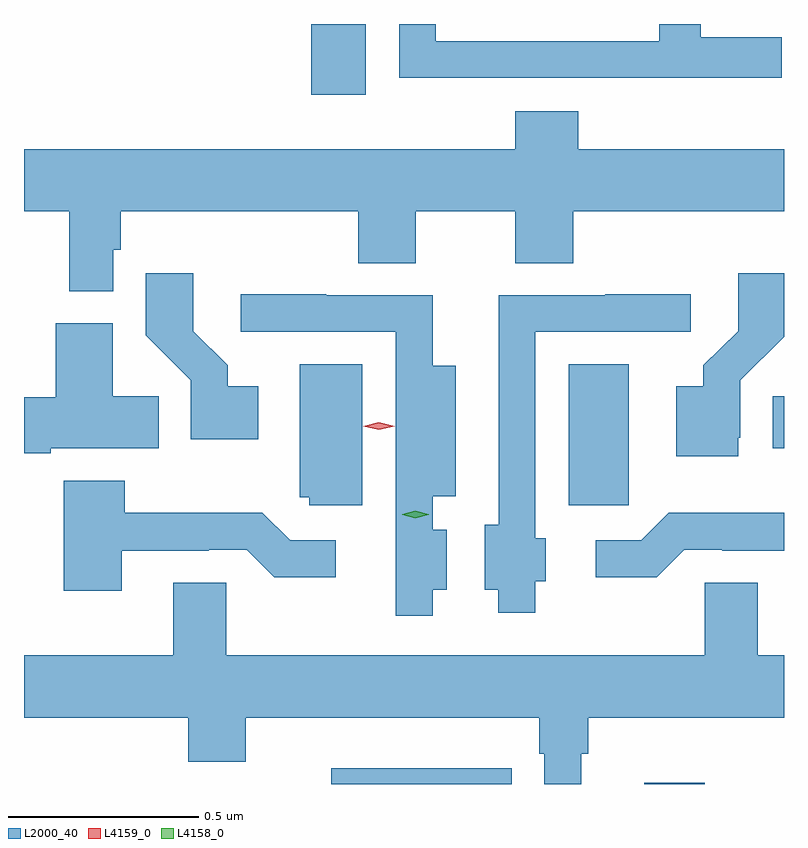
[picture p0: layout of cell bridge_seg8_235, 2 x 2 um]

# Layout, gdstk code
import gdstk
lib = gdstk.Library(unit=1e-6, precision=1e-09)
def R(c, l, rs):  # rectangles x0, y0, x1, y1
    for r in rs: c.add(gdstk.rectangle(r[:2], r[2:], *l))
def P(c, l, *ps):  # polygons
    for p in ps: c.add(gdstk.Polygon(p, *l))
L2000_40 = (2000, 40)
L4158_0 = (4158, 0)
L4159_0 = (4159, 0)

bridge_seg8_235 = lib.new_cell('bridge_seg8_235')
R(bridge_seg8_235, L2000_40, [(311.858,1145.629,312.017,1145.632), (311.66,1146.363,311.818,1146.733), (312.196,1146.512,312.226,1146.65), (310.982,1147.443,311.125,1147.629)])
P(bridge_seg8_235, L2000_40, [(311.435,1147.488),(311.801,1147.488),(311.801,1147.487),(312.22,1147.487),(312.22,1147.594),(312.007,1147.594),(312.007,1147.629),(311.898,1147.629),(311.898,1147.584),(311.31,1147.584),(311.31,1147.629),(311.214,1147.629),(311.214,1147.487),(311.435,1147.487)],
  [(310.461,1147.035),(310.481,1147.035),(310.481,1147.136),(311.105,1147.136),(311.105,1147),(311.257,1147),(311.257,1147.136),(311.519,1147.136),(311.519,1147),(311.672,1147),(311.672,1147.136),(312.226,1147.136),(312.226,1147.3),(311.684,1147.3),(311.684,1147.399),(311.519,1147.399),(311.519,1147.3),(310.226,1147.3),(310.226,1147.136),(310.345,1147.136),(310.345,1146.926),(310.461,1146.926)],
  [(312.106,1146.54),(312.111,1146.54),(312.111,1146.691),(312.226,1146.806),(312.226,1146.973),(312.105,1146.973),(312.105,1146.821),(312.014,1146.731),(312.014,1146.676),(311.942,1146.676),(311.942,1146.491),(312.106,1146.491)],
  [(310.843,1146.676),(310.762,1146.676),(310.762,1146.731),(310.672,1146.821),(310.672,1146.973),(310.546,1146.973),(310.546,1146.81),(310.665,1146.691),(310.665,1146.536),(310.843,1146.536)],
  [(311.572,1146.162),(311.599,1146.162),(311.599,1146.276),(311.571,1146.276),(311.571,1146.819),(311.98,1146.819),(311.98,1146.918),(311.755,1146.918),(311.755,1146.915),(311.475,1146.915),(311.475,1146.311),(311.438,1146.311),(311.438,1146.14),(311.474,1146.14),(311.474,1146.08),(311.572,1146.08)],
  [(311.302,1146.14),(311.338,1146.14),(311.338,1146.298),(311.302,1146.298),(311.302,1146.386),(311.362,1146.386),(311.362,1146.73),(311.302,1146.73),(311.302,1146.915),(311.021,1146.915),(311.021,1146.918),(310.797,1146.918),(310.797,1146.819),(311.204,1146.819),(311.204,1146.072),(311.302,1146.072)],
  [(310.297,1146.512),(310.58,1146.512),(310.58,1146.65),(310.459,1146.65),(310.459,1146.841),(310.31,1146.841),(310.31,1146.647),(310.226,1146.647),(310.226,1146.5),(310.297,1146.5)],
  [(311.116,1146.733),(310.952,1146.733),(310.952,1146.384),(310.977,1146.384),(310.977,1146.363),(311.116,1146.363)],
  [(310.483,1146.243),(310.712,1146.243),(310.712,1146.246),(310.812,1146.246),(310.885,1146.173),(311.047,1146.173),(311.047,1146.27),(310.926,1146.27),(310.853,1146.343),(310.491,1146.343),(310.491,1146.427),(310.331,1146.427),(310.331,1146.138),(310.483,1146.138)],
  [(311.964,1146.246),(312.064,1146.246),(312.064,1146.243),(312.226,1146.243),(312.226,1146.343),(311.923,1146.343),(311.85,1146.27),(311.73,1146.27),(311.73,1146.173),(311.891,1146.173)],
  [(311.692,1145.708),(311.711,1145.708),(311.711,1145.804),(312.226,1145.804),(312.226,1145.968),(312.157,1145.968),(312.157,1146.158),(312.018,1146.158),(312.018,1145.968),(310.758,1145.968),(310.758,1146.158),(310.619,1146.158),(310.619,1145.968),(310.226,1145.968),(310.226,1145.804),(310.658,1145.804),(310.658,1145.687),(310.81,1145.687),(310.81,1145.804),(311.582,1145.804),(311.582,1145.708),(311.595,1145.708),(311.595,1145.629),(311.692,1145.629)],
  [(311.51,1145.67),(311.402,1145.67),(311.402,1145.671),(311.034,1145.671),(311.034,1145.629),(311.51,1145.629)])
P(bridge_seg8_235, L4158_0, [(311.256,1146.328),(311.222,1146.338),(311.221,1146.338),(311.222,1146.339),(311.256,1146.348),(311.291,1146.339),(311.291,1146.338),(311.291,1146.338)])
P(bridge_seg8_235, L4159_0, [(311.16,1146.561),(311.119,1146.571),(311.119,1146.571),(311.119,1146.571),(311.16,1146.581),(311.201,1146.571),(311.201,1146.571),(311.201,1146.571)])

lib.write_gds('bridge_seg8_235.gds')
